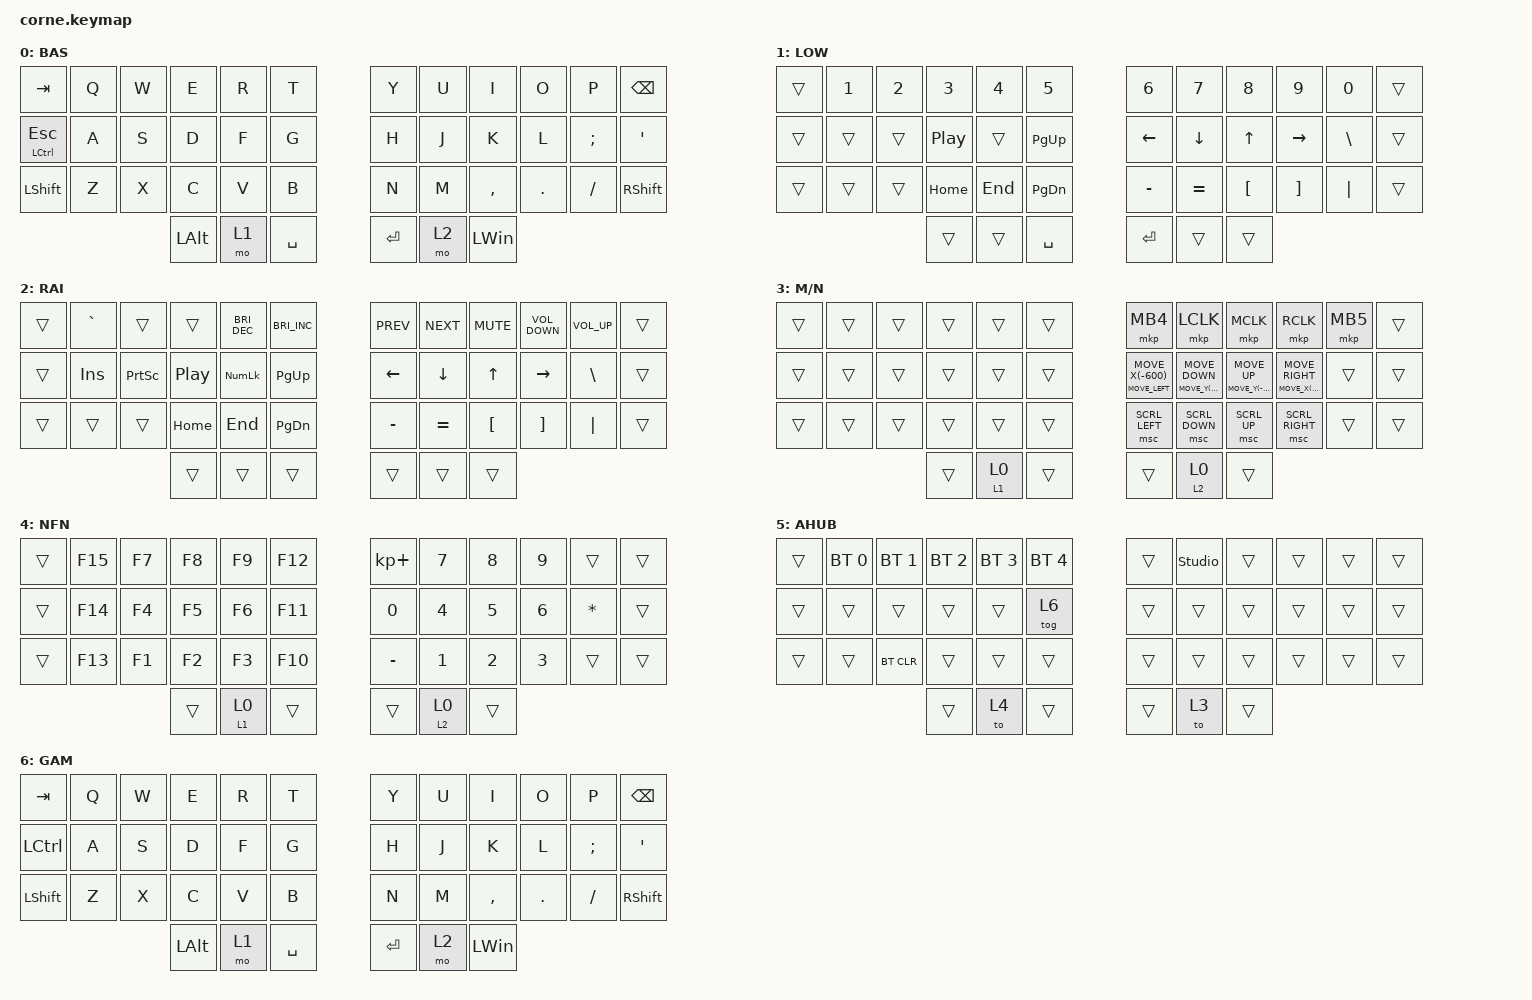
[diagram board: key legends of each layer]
/*
 * Copyright (c) 2020 The ZMK Contributors
 *
 * SPDX-License-Identifier: MIT
 */

#include <dt-bindings/led/led.h>
#include <dt-bindings/zmk/reset.h>
#include <behaviors.dtsi>
#include <dt-bindings/zmk/bt.h>
#include <dt-bindings/zmk/keys.h>
#include <dt-bindings/zmk/pointing.h>

&led_strip { chain-length = <27>; };

/ {
    combos {
        compatible = "zmk,combos";

        caps {
            bindings = <&kp CAPSLOCK>;
            key-positions = <24 35>;
        };

        goto-alt-layer {
            bindings = <&tog 5>;
            key-positions = <37 40>;
            layers = <0 3 4>;
        };

        del {
            bindings = <&kp DELETE>;
            key-positions = <11 10>;
        };

        f1 {
            bindings = <&kp F1>;
            key-positions = <1 0>;
            require-prior-idle-ms = <400>;
        };

        f2 {
            bindings = <&kp F2>;
            key-positions = <1 2>;
            require-prior-idle-ms = <400>;
        };

        f3 {
            bindings = <&kp F3>;
            key-positions = <2 3>;
            require-prior-idle-ms = <400>;
        };

        f4 {
            bindings = <&kp F4>;
            key-positions = <3 4>;
            require-prior-idle-ms = <400>;
        };

        f5 {
            bindings = <&kp F5>;
            key-positions = <5 4>;
            require-prior-idle-ms = <400>;
        };

        f6 {
            bindings = <&kp F6>;
            key-positions = <6 7>;
            require-prior-idle-ms = <400>;
        };

        f7 {
            bindings = <&kp F7>;
            key-positions = <6 8>;
            require-prior-idle-ms = <400>;
        };

        f8 {
            bindings = <&kp F8>;
            key-positions = <6 9>;
            require-prior-idle-ms = <400>;
        };

        f9 {
            bindings = <&kp F9>;
            key-positions = <6 10>;
            require-prior-idle-ms = <400>;
        };

        f12 {
            bindings = <&kp F12>;
            key-positions = <10 9>;
            require-prior-idle-ms = <400>;
        };

        f11 {
            bindings = <&kp F11>;
            key-positions = <8 10>;
            require-prior-idle-ms = <400>;
        };

        f10 {
            bindings = <&kp F10>;
            key-positions = <7 10>;
            require-prior-idle-ms = <400>;
        };

        exit-game-layer {
            bindings = <&tog 6>;
            key-positions = <37 40>;
            layers = <6>;
            require-prior-idle-ms = <100>;
        };

        game-layer-esc {
            bindings = <&kp ESC>;
            key-positions = <0 2>;
            require-prior-idle-ms = <400>;
        };
    };

    behaviors {
        tap_escape_hold_ctrl: tap_escape_hold_ctrl {
            compatible = "zmk,behavior-hold-tap";
            label = "TAP_ESCAPE_HOLD_CTRL";
            bindings = <&kp>, <&kp>;

            #binding-cells = <2>;
            tapping-term-ms = <180>;
            flavor = "balanced";
        };

        bkspcShiftDelForward: bkspcShiftDelForward {
            compatible = "zmk,behavior-mod-morph";
            label = "BKSPCSHIFTDELFORWARD";
            bindings = <&kp BACKSPACE>, <&kp DEL>;

            #binding-cells = <0>;
            mods = <(MOD_LSFT|MOD_RSFT)>;
        };

        layer_hold_tap: layer_hold_tap {
            compatible = "zmk,behavior-hold-tap";
            label = "LAYER_HOLD_TAP";
            bindings = <&mo>, <&to>;

            #binding-cells = <2>;
            tapping-term-ms = <120>;
            flavor = "hold-preferred";
        };

        mouse_move_2speed: mouse_move_2speed {
            compatible = "zmk,behavior-hold-tap";
            label = "MOUSE_MOVE_2SPEED";
            bindings = <&mmv>, <&mmv>;

            #binding-cells = <2>;
            tapping-term-ms = <50>;
            flavor = "balanced";
        };
    };

    keymap {
        compatible = "zmk,keymap";

        default_layer {
            display-name = "BAS";

            // -----------------------------------------------------------------------------------------
            // |  TAB |  Q  |  W  |  E  |  R  |  T  |   |  Y  |  U   |  I  |  O  |  P  | BKSP |
            // | CTRL |  A  |  S  |  D  |  F  |  G  |   |  H  |  J   |  K  |  L  |  ;  |  '   |
            // | SHFT |  Z  |  X  |  C  |  V  |  B  |   |  N  |  M   |  ,  |  .  |  /  | ESC  |
            //                    | GUI | LWR | SPC |   | ENT | RSE  | ALT |

            bindings = <
&kp TAB                                    &kp Q  &kp W  &kp E         &kp R  &kp T        &kp Y    &kp U  &kp I         &kp O    &kp P     &kp BACKSPACE
&tap_escape_hold_ctrl LEFT_CONTROL ESCAPE  &kp A  &kp S  &kp D         &kp F  &kp G        &kp H    &kp J  &kp K         &kp L    &kp SEMI  &kp SQT
&kp LSHFT                                  &kp Z  &kp X  &kp C         &kp V  &kp B        &kp N    &kp M  &kp COMMA     &kp DOT  &kp FSLH  &kp RIGHT_SHIFT
                                                         &kp LEFT_ALT  &mo 1  &kp SPACE    &kp RET  &mo 2  &kp LEFT_WIN
            >;
        };

        lower_layer {
            display-name = "LOW";

            // -----------------------------------------------------------------------------------------
            // |  TAB |  1  |  2  |  3  |  4  |  5  |   |  6  |  7  |  8  |  9  |  0  | BKSP |
            // | BTCLR| BT1 | BT2 | BT3 | BT4 | BT5 |   | LFT | DWN |  UP | RGT |     |      |
            // | SHFT |     |     |     |     |     |   |     |     |     |     |     |      |
            //                    | GUI |     | SPC |   | ENT |     | ALT |

            bindings = <
&trans  &kp N1  &kp N2  &kp N3    &kp N4   &kp N5           &kp N6     &kp N7     &kp N8            &kp N9             &kp N0         &trans
&trans  &trans  &trans  &kp C_PP  &trans   &kp PAGE_UP      &kp LEFT   &kp DOWN   &kp UP            &kp RIGHT          &kp BACKSLASH  &trans
&trans  &trans  &trans  &kp HOME  &kp END  &kp PAGE_DOWN    &kp MINUS  &kp EQUAL  &kp LEFT_BRACKET  &kp RIGHT_BRACKET  &kp PIPE       &trans
                        &trans    &trans   &kp SPACE        &kp RET    &trans     &trans
            >;
        };

        raise_layer {
            display-name = "RAI";

            // -----------------------------------------------------------------------------------------
            // |  TAB |  !  |  @  |  #  |  $  |  %  |   |  ^  |  &  |  *  |  (  |  )  | BKSP |
            // | CTRL |     |     |     |     |     |   |  -  |  =  |  [  |  ]  |  \  |  `   |
            // | SHFT |     |     |     |     |     |   |  _  |  +  |  {  |  }  | "|" |  ~   |
            //                    | GUI |     | SPC |   | ENT |     | ALT |

            bindings = <
&trans  &kp GRAVE   &trans           &trans    &kp C_BRIGHTNESS_DEC  &kp C_BRIGHTNESS_INC    &kp C_PREV  &kp C_NEXT  &kp C_MUTE        &kp C_VOLUME_DOWN  &kp C_VOLUME_UP  &trans
&trans  &kp INSERT  &kp PRINTSCREEN  &kp C_PP  &kp KP_NUMLOCK        &kp PAGE_UP             &kp LEFT    &kp DOWN    &kp UP_ARROW      &kp RIGHT          &kp BSLH         &trans
&trans  &trans      &trans           &kp HOME  &kp END               &kp PAGE_DOWN           &kp MINUS   &kp EQUAL   &kp LEFT_BRACKET  &kp RIGHT_BRACKET  &kp PIPE         &trans
                                     &trans    &trans                &trans                  &trans      &trans      &trans
            >;
        };

        mouse-nav {
            bindings = <
&trans  &trans  &trans  &trans  &trans               &trans    &mkp MB4                                   &mkp LCLK                                 &mkp MCLK                                &mkp RCLK                                  &mkp MB5  &trans
&trans  &trans  &trans  &trans  &trans               &trans    &mouse_move_2speed MOVE_LEFT MOVE_X(-600)  &mouse_move_2speed MOVE_Y(600) MOVE_DOWN  &mouse_move_2speed MOVE_Y(-600) MOVE_UP  &mouse_move_2speed MOVE_X(600) MOVE_RIGHT  &trans    &trans
&trans  &trans  &trans  &trans  &trans               &trans    &msc SCRL_LEFT                             &msc SCRL_DOWN                            &msc SCRL_UP                             &msc SCRL_RIGHT                            &trans    &trans
                        &trans  &layer_hold_tap 1 0  &trans    &trans                                     &layer_hold_tap 2 0                       &trans
            >;

            label = "M/N";
        };

        NUMPAD+FN {
            bindings = <
&trans  &kp F15  &kp F7  &kp F8  &kp F9               &kp F12    &kp KP_PLUS  &kp N7               &kp N8  &kp N9  &trans    &trans
&trans  &kp F14  &kp F4  &kp F5  &kp F6               &kp F11    &kp N0       &kp N4               &kp N5  &kp N6  &kp STAR  &trans
&trans  &kp F13  &kp F1  &kp F2  &kp F3               &kp F10    &kp MINUS    &kp N1               &kp N2  &kp N3  &trans    &trans
                         &trans  &layer_hold_tap 1 0  &trans     &trans       &layer_hold_tap 2 0  &trans
            >;

            label = "NFN";
        };

        ALT-HUB {
            bindings = <
&trans  &bt BT_SEL 0  &bt BT_SEL 1  &bt BT_SEL 2  &bt BT_SEL 3  &bt BT_SEL 4    &trans  &studio_unlock  &trans  &trans  &trans  &trans
&trans  &trans        &trans        &trans        &trans        &tog 6          &trans  &trans          &trans  &trans  &trans  &trans
&trans  &trans        &bt BT_CLR    &trans        &trans        &trans          &trans  &trans          &trans  &trans  &trans  &trans
                                    &trans        &to 4         &trans          &trans  &to 3           &trans
            >;

            label = "AHUB";
        };

        gaming {
            display-name = "GAM";
            bindings = <
&kp TAB           &kp Q  &kp W  &kp E         &kp R  &kp T        &kp Y    &kp U  &kp I         &kp O    &kp P     &kp BACKSPACE
&kp LEFT_CONTROL  &kp A  &kp S  &kp D         &kp F  &kp G        &kp H    &kp J  &kp K         &kp L    &kp SEMI  &kp SQT
&kp LSHFT         &kp Z  &kp X  &kp C         &kp V  &kp B        &kp N    &kp M  &kp COMMA     &kp DOT  &kp FSLH  &kp RIGHT_SHIFT
                                &kp LEFT_ALT  &mo 1  &kp SPACE    &kp RET  &mo 2  &kp LEFT_WIN
            >;
        };
    };

    conditional_layers { compatible = "zmk,conditional-layers"; };
};
